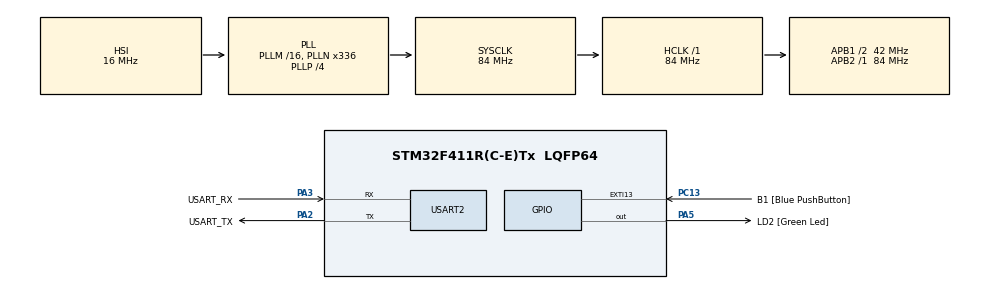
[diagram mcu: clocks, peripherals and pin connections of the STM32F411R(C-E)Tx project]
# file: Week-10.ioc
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Mcu.Family=STM32F4
Mcu.Name=STM32F411R(C-E)Tx
Mcu.Package=LQFP64
NVIC.PriorityGroup=NVIC_PRIORITYGROUP_0
NVIC.USART2_IRQn=true\:0\:0\:false\:false\:true\:true\:true
PA13.GPIO_Label=TMS
PA13.Mode=Serial_Wire
PA13.Signal=SYS_JTMS-SWDIO
PA14.GPIO_Label=TCK
PA14.Mode=Serial_Wire
PA14.Signal=SYS_JTCK-SWCLK
PA2.GPIO_Label=USART_TX
PA2.Mode=Asynchronous
PA2.Signal=USART2_TX
PA3.GPIO_Label=USART_RX
PA3.Mode=Asynchronous
PA3.Signal=USART2_RX
PA5.GPIO_Label=LD2 [Green Led]
PA5.Signal=GPIO_Output
PB3.GPIO_Label=SWO
PB3.Signal=SYS_JTDO-SWO
PC13-ANTI_TAMP.GPIO_Label=B1 [Blue PushButton]
PC13-ANTI_TAMP.GPIO_ModeDefaultEXTI=GPIO_MODE_IT_FALLING
PC13-ANTI_TAMP.Signal=GPXTI13
PC14-OSC32_IN.Mode=LSE-External-Oscillator
PC14-OSC32_IN.Signal=RCC_OSC32_IN
PC15-OSC32_OUT.Mode=LSE-External-Oscillator
PC15-OSC32_OUT.Signal=RCC_OSC32_OUT
PH0\ -\ OSC_IN.Mode=HSE-External-Clock-Source
PH0\ -\ OSC_IN.Signal=RCC_OSC_IN
PH1\ -\ OSC_OUT.Mode=HSE-External-Clock-Source
PH1\ -\ OSC_OUT.Signal=RCC_OSC_OUT
ProjectManager.HeapSize=0x200
ProjectManager.StackSize=0x400
ProjectManager.TargetToolchain=STM32CubeIDE
RCC.48MHZClocksFreq_Value=84000000
RCC.AHBFreq_Value=84000000
RCC.APB1CLKDivider=RCC_HCLK_DIV2
RCC.APB1Freq_Value=42000000
RCC.APB1TimFreq_Value=84000000
RCC.APB2Freq_Value=84000000
RCC.APB2TimFreq_Value=84000000
RCC.CortexFreq_Value=84000000
RCC.FLatency-AdvancedSettings=FLASH_LATENCY_2
RCC.HCLKFreq_Value=84000000
RCC.HSE_VALUE=8000000
RCC.HSI_VALUE=16000000
RCC.PLLN=336
RCC.PLLP=RCC_PLLP_DIV4
RCC.SYSCLKFreq_VALUE=84000000
RCC.SYSCLKSource=RCC_SYSCLKSOURCE_PLLCLK
RCC.VCOOutputFreq_Value=336000000
USART2.VirtualMode=VM_ASYNC
board=NUCLEO-F411RE

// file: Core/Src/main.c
/* USER CODE BEGIN Header */
/**
 ******************************************************************************
 * @file           : main.c
 * @brief          : Main program body
 ******************************************************************************
 * @attention
 *
 * <h2><center>&copy; Copyright (c) 2021 STMicroelectronics.
 * All rights reserved.</center></h2>
 *
 * This software component is licensed by ST under BSD 3-Clause license,
 * the "License"; You may not use this file except in compliance with the
 * License. You may obtain a copy of the License at:
 *                        opensource.org/licenses/BSD-3-Clause
 *
 ******************************************************************************
 */
/* USER CODE END Header */
#include "main.h"

/* USER CODE BEGIN Includes */
#include <stdio.h>
#include <string.h>
/* USER CODE END Includes */

UART_HandleTypeDef huart2;

/* USER CODE BEGIN PV */
char TxDataBuffer[32] = { 0 };
char RxDataBuffer[32] = { 0 };

uint16_t LED_Freq = 0;
uint32_t LED_Timestamp = 0;
uint16_t LED_Status = 1;
uint8_t Button[2] = {1,1};

typedef enum
{
	Mainf,
	Main,
	Menu0f,
	Menu0,
	Menu1f,
	Menu1
}Menu_state;

/* USER CODE END PV */

void SystemClock_Config(void);
static void MX_GPIO_Init(void);
static void MX_USART2_UART_Init(void);
/* USER CODE BEGIN PFP */
void UARTRecieveAndResponsePolling();
int16_t UARTRecieveIT();
/* USER CODE END PFP */

int main(void)
{

  /* MCU Configuration--------------------------------------------------------*/

  /* Reset of all peripherals, Initializes the Flash interface and the Systick. */
  HAL_Init();

  /* Configure the system clock */
  SystemClock_Config();

  /* Initialize all configured peripherals */
  MX_GPIO_Init();
  MX_USART2_UART_Init();
  /* USER CODE BEGIN 2 */
  {
	  char temp[] = "\n\n\r** Welcome to Program **\n";
	  HAL_UART_Transmit(&huart2, (uint8_t*)temp, strlen(temp),100);
  }
  static Menu_state State = Mainf;
  /* USER CODE END 2 */

  /* Infinite loop */
  /* USER CODE BEGIN WHILE */
	while (1)
	{
		/*Method 1 Polling Mode*/

//		UARTRecieveAndResponsePolling();

		/*Method 2 Interrupt Mode*/
		HAL_UART_Receive_IT(&huart2,  (uint8_t*)RxDataBuffer, 32);

		/*Method 2 W/ 1 Char Received*/
		int16_t inputchar = UARTRecieveIT();
//		if(inputchar!=-1)
//		{
//
////			sprintf(TxDataBuffer, "ReceivedChar:[%c]\r\n", inputchar);
//			HAL_UART_Transmit(&huart2, (uint8_t*)TxDataBuffer, strlen(TxDataBuffer), 100);
//		}

		if(LED_Status == 1)
		{
			if(HAL_GetTick() - LED_Timestamp >= 500/LED_Freq)
			{
				LED_Timestamp = HAL_GetTick();
				HAL_GPIO_TogglePin(LD2_GPIO_Port, LD2_Pin);
			}
		}
		else
		{
			HAL_GPIO_WritePin(LD2_GPIO_Port, LD2_Pin, 0);
		}

		Button[1] = Button[0];
		Button[0] = HAL_GPIO_ReadPin(B1_GPIO_Port, B1_Pin);
//	******************************************************************************
/*
sprintf(TxDataBuffer, "\n----- Main -----\n\r");
HAL_UART_Transmit(&huart2, (uint8_t*)TxDataBuffer, strlen(TxDataBuffer), 100);
*/
		switch(State)
		{
			case Mainf:
				sprintf(TxDataBuffer, "\n----- Main -----\n\r");
				HAL_UART_Transmit(&huart2, (uint8_t*)TxDataBuffer, strlen(TxDataBuffer), 100);
				sprintf(TxDataBuffer, "press [0]  LED   Mode\n\r");
				HAL_UART_Transmit(&huart2, (uint8_t*)TxDataBuffer, strlen(TxDataBuffer), 100);
				sprintf(TxDataBuffer, "press [1] Button Mode\n\r");
				HAL_UART_Transmit(&huart2, (uint8_t*)TxDataBuffer, strlen(TxDataBuffer), 100);
				State = Main;
				break;

			case Main:
				switch(inputchar)
				{
					case -1 :
						break;
					case '0':
						State = Menu0f;
						break;
					case '1':
						State = Menu1f;
						break;
					default:
						sprintf(TxDataBuffer, "\n----- LED -----\n\r");
						HAL_UART_Transmit(&huart2, (uint8_t*)TxDataBuffer, strlen(TxDataBuffer), 100);
						State = Mainf;
						break;
				}
				break;

			case Menu0f:
				sprintf(TxDataBuffer, "\n----- LED -----\n\r");
				HAL_UART_Transmit(&huart2, (uint8_t*)TxDataBuffer, strlen(TxDataBuffer), 100);
				sprintf(TxDataBuffer, "[a] +1 Hz\n\r");
				HAL_UART_Transmit(&huart2, (uint8_t*)TxDataBuffer, strlen(TxDataBuffer), 100);
				sprintf(TxDataBuffer, "[s] -1 Hz\n\r");
				HAL_UART_Transmit(&huart2, (uint8_t*)TxDataBuffer, strlen(TxDataBuffer), 100);
				sprintf(TxDataBuffer, "[d] on/off\n\r");
				HAL_UART_Transmit(&huart2, (uint8_t*)TxDataBuffer, strlen(TxDataBuffer), 100);
				sprintf(TxDataBuffer, "[x] back\n\r");
				HAL_UART_Transmit(&huart2, (uint8_t*)TxDataBuffer, strlen(TxDataBuffer), 100);
				State = Menu0;
				break;

			case Menu0:
				switch(inputchar)
				{
					case -1 :
						break;

					case 'a':
						LED_Freq += 1;
						sprintf(TxDataBuffer, "LED freq %d Hz\n\r",LED_Freq);
						HAL_UART_Transmit(&huart2, (uint8_t*)TxDataBuffer, strlen(TxDataBuffer), 100);
						break;

					case 's':
						if(LED_Freq != 0)
						{
							LED_Freq -= 1;
						}
						sprintf(TxDataBuffer, "LED freq %d Hz\n\r",LED_Freq);
						HAL_UART_Transmit(&huart2, (uint8_t*)TxDataBuffer, strlen(TxDataBuffer), 100);
						break;

					case 'd':
						LED_Status = !LED_Status;
						if(LED_Status == 1)
						{
							sprintf(TxDataBuffer, "LED ON \n\r");
							HAL_UART_Transmit(&huart2, (uint8_t*)TxDataBuffer, strlen(TxDataBuffer), 100);
						}
						else
						{
							sprintf(TxDataBuffer, "LED OFF\n\r");
							HAL_UART_Transmit(&huart2, (uint8_t*)TxDataBuffer, strlen(TxDataBuffer), 100);
						}
						break;

					case 'x':
						State = Mainf;
						break;

					default:
						sprintf(TxDataBuffer, "\nOnly a s d x\n\r");
						HAL_UART_Transmit(&huart2, (uint8_t*)TxDataBuffer, strlen(TxDataBuffer), 100);
						break;
				}
				break;

//		****************************************************************************************

			case Menu1f:
				sprintf(TxDataBuffer, "\n----- Button -----\n\r");
				HAL_UART_Transmit(&huart2, (uint8_t*)TxDataBuffer, strlen(TxDataBuffer), 100);
				sprintf(TxDataBuffer, "[x] Back\n\r");
				HAL_UART_Transmit(&huart2, (uint8_t*)TxDataBuffer, strlen(TxDataBuffer), 100);
				State = Menu1;
				break;

			case Menu1:
				switch(inputchar)
				{
					case -1:
						break;

					case 'x':
						State = Mainf;
						break;

					default:
						sprintf(TxDataBuffer, "\nOnly x\n\r");
						HAL_UART_Transmit(&huart2, (uint8_t*)TxDataBuffer, strlen(TxDataBuffer), 100);
						State = Menu1f;
						break;
				}
				if(Button[0] == 0 && Button[1] == 1)
				{
					sprintf(TxDataBuffer, "Button was pressed\n\r");
					HAL_UART_Transmit(&huart2, (uint8_t*)TxDataBuffer, strlen(TxDataBuffer), 100);
				}
				else if(Button[0] == 1 && Button[1] == 0)
				{
					sprintf(TxDataBuffer, "Button was released\n\r");
					HAL_UART_Transmit(&huart2, (uint8_t*)TxDataBuffer, strlen(TxDataBuffer), 100);
				}
				break;

			default:
				break;
		}

    /* USER CODE END WHILE */

	}
}

void SystemClock_Config(void)
{
  RCC_OscInitTypeDef RCC_OscInitStruct = {0};
  RCC_ClkInitTypeDef RCC_ClkInitStruct = {0};

  /** Configure the main internal regulator output voltage
  */
  __HAL_RCC_PWR_CLK_ENABLE();
  __HAL_PWR_VOLTAGESCALING_CONFIG(PWR_REGULATOR_VOLTAGE_SCALE1);
  /** Initializes the RCC Oscillators according to the specified parameters
  * in the RCC_OscInitTypeDef structure.
  */
  RCC_OscInitStruct.OscillatorType = RCC_OSCILLATORTYPE_HSI;
  RCC_OscInitStruct.HSIState = RCC_HSI_ON;
  RCC_OscInitStruct.HSICalibrationValue = RCC_HSICALIBRATION_DEFAULT;
  RCC_OscInitStruct.PLL.PLLState = RCC_PLL_ON;
  RCC_OscInitStruct.PLL.PLLSource = RCC_PLLSOURCE_HSI;
  RCC_OscInitStruct.PLL.PLLM = 16;
  RCC_OscInitStruct.PLL.PLLN = 336;
  RCC_OscInitStruct.PLL.PLLP = RCC_PLLP_DIV4;
  RCC_OscInitStruct.PLL.PLLQ = 4;
  if (HAL_RCC_OscConfig(&RCC_OscInitStruct) != HAL_OK)
  {
    Error_Handler();
  }
  /** Initializes the CPU, AHB and APB buses clocks
  */
  RCC_ClkInitStruct.ClockType = RCC_CLOCKTYPE_HCLK|RCC_CLOCKTYPE_SYSCLK
                              |RCC_CLOCKTYPE_PCLK1|RCC_CLOCKTYPE_PCLK2;
  RCC_ClkInitStruct.SYSCLKSource = RCC_SYSCLKSOURCE_PLLCLK;
  RCC_ClkInitStruct.AHBCLKDivider = RCC_SYSCLK_DIV1;
  RCC_ClkInitStruct.APB1CLKDivider = RCC_HCLK_DIV2;
  RCC_ClkInitStruct.APB2CLKDivider = RCC_HCLK_DIV1;

  if (HAL_RCC_ClockConfig(&RCC_ClkInitStruct, FLASH_LATENCY_2) != HAL_OK)
  {
    Error_Handler();
  }
}

static void MX_USART2_UART_Init(void)
{

  huart2.Instance = USART2;
  huart2.Init.BaudRate = 115200;
  huart2.Init.WordLength = UART_WORDLENGTH_8B;
  huart2.Init.StopBits = UART_STOPBITS_1;
  huart2.Init.Parity = UART_PARITY_NONE;
  huart2.Init.Mode = UART_MODE_TX_RX;
  huart2.Init.HwFlowCtl = UART_HWCONTROL_NONE;
  huart2.Init.OverSampling = UART_OVERSAMPLING_16;
  if (HAL_UART_Init(&huart2) != HAL_OK)
  {
    Error_Handler();
  }

}

static void MX_GPIO_Init(void)
{
  GPIO_InitTypeDef GPIO_InitStruct = {0};

  /* GPIO Ports Clock Enable */
  __HAL_RCC_GPIOC_CLK_ENABLE();
  __HAL_RCC_GPIOH_CLK_ENABLE();
  __HAL_RCC_GPIOA_CLK_ENABLE();
  __HAL_RCC_GPIOB_CLK_ENABLE();

  /*Configure GPIO pin Output Level */
  HAL_GPIO_WritePin(LD2_GPIO_Port, LD2_Pin, GPIO_PIN_RESET);

  /*Configure GPIO pin : B1_Pin */
  GPIO_InitStruct.Pin = B1_Pin;
  GPIO_InitStruct.Mode = GPIO_MODE_IT_FALLING;
  GPIO_InitStruct.Pull = GPIO_NOPULL;
  HAL_GPIO_Init(B1_GPIO_Port, &GPIO_InitStruct);

  /*Configure GPIO pin : LD2_Pin */
  GPIO_InitStruct.Pin = LD2_Pin;
  GPIO_InitStruct.Mode = GPIO_MODE_OUTPUT_PP;
  GPIO_InitStruct.Pull = GPIO_NOPULL;
  GPIO_InitStruct.Speed = GPIO_SPEED_FREQ_LOW;
  HAL_GPIO_Init(LD2_GPIO_Port, &GPIO_InitStruct);

}

/* USER CODE BEGIN 4 */
void UARTRecieveAndResponsePolling()
{
	char Recieve[32]={0};

	HAL_UART_Receive(&huart2, (uint8_t*)Recieve, 32, 1000);

	sprintf(TxDataBuffer, "Received:[%s]\r\n", Recieve);
	HAL_UART_Transmit(&huart2, (uint8_t*)TxDataBuffer, strlen(TxDataBuffer), 1000);

}

int16_t UARTRecieveIT()
{
	static uint32_t dataPos =0;
	int16_t data=-1;
	if(huart2.RxXferSize - huart2.RxXferCount!=dataPos)
	{
		data=RxDataBuffer[dataPos];
		dataPos= (dataPos+1)%huart2.RxXferSize;
	}
	return data;
}

//void HAL_UART_RxCpltCallback(UART_HandleTypeDef *huart)
//{
//	sprintf(TxDataBuffer, "Received:[%s]\r\n", RxDataBuffer);
//	HAL_UART_Transmit(&huart2, (uint8_t*)TxDataBuffer, strlen(TxDataBuffer), 1000);
//	HAL_UART_Transmit_IT(&huart2, (uint8_t*)TxDataBuffer, strlen(TxDataBuffer);
//}
/* USER CODE END 4 */

void Error_Handler(void)
{
	__disable_irq();
	while (1)
	{
	}
}

/************************ (C) COPYRIGHT STMicroelectronics *****END OF FILE****/
